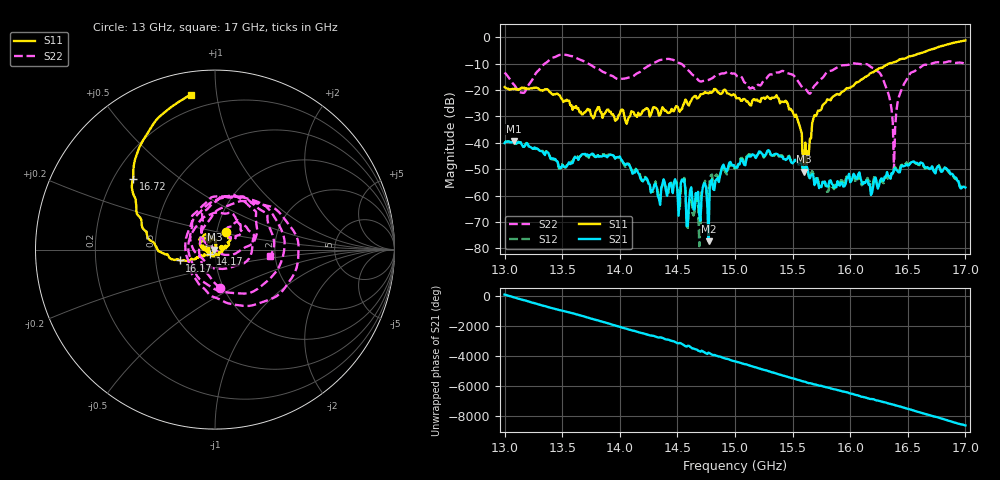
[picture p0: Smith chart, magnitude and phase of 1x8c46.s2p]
!Keysight Technologies,P9374A,MY57211807,A.19.30.04
!Date: Friday, May 08, 2026 15:11:33
!Correction: S11(C  2-Port  )
!S21(C  2-Port  )
!S12(C  2-Port  )
!S22(C  2-Port  )
!S2P File: Measurements: S11, S21, S12, S22:
# Hz S  dB  R 50
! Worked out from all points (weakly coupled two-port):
!   401 points, 13 GHz to 17 GHz, reference 50 ohm
!   highest |S21| = -39.32 dB at 13.08 GHz (marker M1); lowest = -77.3 dB at 14.77 GHz (marker M2)
!   lowest |S11| = -50.9 dB at 15.6 GHz (marker M3), VSWR 1.01, Z = 49.7 + j0.0293 ohm
!   |S11| at or under -10 dB: start of sweep to 16.33 GHz
!   |S22| runs from -50.1 to -6.6 dB; largest |S21 - S12| = 0.00088
!   S11 on the Smith chart (normalised r, x): 13 GHz: 1.11, +0.22; 14.17 GHz: 0.95, -0.04; 16.17 GHz: 0.67, -0.08; 16.72 GHz: 0.28, +0.35; 17 GHz: 0.12, +0.85
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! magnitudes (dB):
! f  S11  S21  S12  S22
! 13 GHz  -18.9  -40.1  -40.1  -13.4
! 13.08 GHz  -19.7  -39.3  -39.2  -17.9
! 13.49 GHz  -23.1  -49.6  -49.3  -6.6
! 13.67 GHz  -29.2  -44.4  -44.4  -8.7
! 14.17 GHz  -29.6  -52.0  -50.8  -13.3
! 14.34 GHz  -29.7  -61.2  -60.9  -8.8
! 14.55 GHz  -25.7  -54.6  -54.3  -10.6
! 14.59 GHz  -25.4  -71.3  -72.3  -12.4
! 14.68 GHz  -23.0  -58.6  -62.6  -16.2
! 14.73 GHz  -21.2  -55.5  -55.8  -16.5
! 14.77 GHz  -21.3  -77.3  -66.4  -16.2
! 15 GHz  -21.9  -49.2  -49.8  -13.8
! 15.44 GHz  -24.0  -46.5  -45.8  -13.3
! 15.55 GHz  -32.2  -48.2  -48.2  -16.8
! 15.6 GHz  -50.9  -50.1  -50.7  -19.4
! 15.67 GHz  -32.5  -51.9  -50.8  -19.8
! 16.17 GHz  -13.7  -55.6  -54.7  -10.9
! 16.34 GHz  -9.9  -52.7  -52.9  -22.7
! 16.38 GHz  -9.5  -50.0  -50.0  -50.1
! 16.5 GHz  -7.5  -48.6  -48.1  -15.2
! 16.72 GHz  -4.4  -50.4  -50.1  -9.8
! 17 GHz  -1.2  -57.0  -56.0  -10.2
